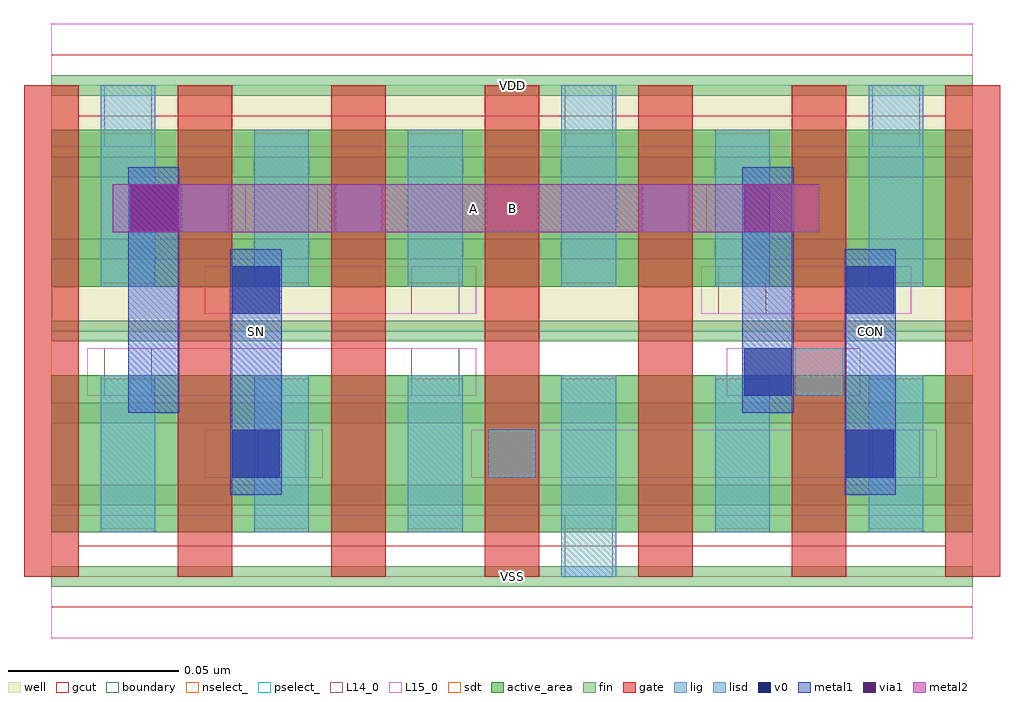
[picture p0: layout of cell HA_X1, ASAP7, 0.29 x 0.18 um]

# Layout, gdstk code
import gdstk
lib = gdstk.Library(unit=1e-6, precision=2.5e-10)
def R(c, l, rs):  # rectangles x0, y0, x1, y1
    for r in rs: c.add(gdstk.rectangle(r[:2], r[2:], *l))
def A(c, l, x, y, w, h, nx, ny, dx, dy):  # array of equal rectangles
    R(c, l, [(x+i*dx, y+j*dy, x+i*dx+w, y+j*dy+h) for i in range(nx) for j in range(ny)])
def P(c, l, *ps):  # polygons
    for p in ps: c.add(gdstk.Polygon(p, *l))
well = (1, 0)
fin = (2, 0)
gate = (7, 0)
gcut = (10, 0)
active_area = (11, 0)
nselect_ = (12, 0)
pselect_ = (13, 0)
L14_0 = (14, 0)
L15_0 = (15, 0)
lig = (16, 0)
lisd = (17, 0)
v0 = (18, 0)
metal1 = (19, 0)
metal2 = (20, 0)
via1 = (21, 0)
sdt = (88, 0)
boundary = (100, 0)

ha_x1 = lib.new_cell('HA_X1')
R(ha_x1, well, [(0,0.072,0.27,0.144)])
A(ha_x1, fin, 0, -0.003, 0.27, 0.006, 1, 7, 0, 0.024)
A(ha_x1, gate, -0.008, 0, 0.016, 0.144, 7, 1, 0.045, 0)
P(ha_x1, gcut, [(0,-0.009),(0,0),(-0.008,0),(-0.008,0.135),(0.008,0.135),(0.008,0.009),(0.262,0.009),(0.262,0.135),(-0.008,0.135),(-0.008,0.144),(0,0.144),(0,0.153),(0.27,0.153),(0.27,0.144),(0.278,0.144),(0.278,0),(0.27,0),(0.27,-0.009)])
R(ha_x1, active_area, [(0,0.013,0.27,0.059), (0,0.085,0.27,0.131)])
R(ha_x1, nselect_, [(0,0,0.27,0.072)])
R(ha_x1, pselect_, [(0,0.072,0.27,0.144)])
R(ha_x1, L14_0, [(0.1505,0,0.1645,0.018), (0.0605,0.029,0.0745,0.043), (0.128,0.029,0.142,0.043), (0.2405,0.029,0.2545,0.043), (0.0155,0.053,0.0295,0.067), (0.1055,0.053,0.1195,0.067), (0.218,0.053,0.232,0.067), (0.1055,0.077,0.1195,0.091), (0.1955,0.077,0.2095,0.091), (0.038,0.101,0.052,0.115), (0.083,0.101,0.097,0.115), (0.173,0.101,0.187,0.115), (0.0155,0.126,0.0295,0.144), (0.1505,0.126,0.1645,0.144), (0.2405,0.126,0.2545,0.144)])
R(ha_x1, L15_0, [(0,-0.018,0.27,0.018), (0.045,0.029,0.0795,0.043), (0.123,0.029,0.2595,0.043), (0.0105,0.053,0.1245,0.067), (0.198,0.053,0.237,0.067), (0.045,0.077,0.1245,0.091), (0.1905,0.077,0.252,0.091), (0.018,0.101,0.057,0.115), (0.078,0.101,0.192,0.115), (0,0.126,0.27,0.162)])
R(ha_x1, lig, [(0.128,0.029,0.142,0.043), (0.218,0.053,0.232,0.067), (0.038,0.101,0.052,0.115), (0.083,0.101,0.097,0.115), (0.173,0.101,0.187,0.115)])
A(ha_x1, lisd, 0.0145, 0.013, 0.016, 0.046, 3, 1, 0.045, 0)
R(ha_x1, lisd, [(0.1495,0,0.1655,0.059), (0.1945,0.013,0.2105,0.059), (0.2395,0.013,0.2555,0.059), (0.0145,0.085,0.0305,0.144), (0.0595,0.085,0.0755,0.131), (0.1045,0.085,0.1205,0.131), (0.1495,0.085,0.1655,0.144), (0.1945,0.085,0.2105,0.131), (0.2395,0.085,0.2555,0.144)])
R(ha_x1, v0, [(0.053,0.029,0.067,0.043), (0.233,0.029,0.247,0.043), (0.203,0.053,0.217,0.067), (0.053,0.077,0.067,0.091), (0.233,0.077,0.247,0.091), (0.023,0.101,0.037,0.115)])
R(ha_x1, metal1, [(0.0525,0.024,0.0675,0.096), (0.2325,0.024,0.2475,0.096), (0.0225,0.048,0.0375,0.12), (0.2025,0.048,0.2175,0.12)])
R(ha_x1, metal2, [(0.018,0.101,0.225,0.115)])
R(ha_x1, via1, [(0.023,0.101,0.037,0.115), (0.203,0.101,0.217,0.115)])
A(ha_x1, sdt, 0.0145, 0.014, 0.016, 0.044, 6, 2, 0.045, 0.072)
R(ha_x1, boundary, [(0,0,0.27,0.144)])
ha_x1.add(gdstk.Label('B', (0.135,0.108), layer=15, texttype=251))
ha_x1.add(gdstk.Label('VSS', (0.135,0), layer=15, texttype=251))
ha_x1.add(gdstk.Label('VDD', (0.135,0.144), layer=15, texttype=251))
ha_x1.add(gdstk.Label('VSS', (0.135,0), layer=15, texttype=251))
ha_x1.add(gdstk.Label('VDD', (0.135,0.144), layer=15, texttype=251))
ha_x1.add(gdstk.Label('VSS', (0.135,0), layer=15, texttype=251))
ha_x1.add(gdstk.Label('VDD', (0.135,0.144), layer=15, texttype=251))
ha_x1.add(gdstk.Label('VSS', (0.135,0), layer=15, texttype=251))
ha_x1.add(gdstk.Label('VDD', (0.135,0.144), layer=15, texttype=251))
ha_x1.add(gdstk.Label('VSS', (0.135,0), layer=3, texttype=251))
ha_x1.add(gdstk.Label('VSS', (0.135,0), layer=3, texttype=251))
ha_x1.add(gdstk.Label('VSS', (0.135,0), layer=3, texttype=251))
ha_x1.add(gdstk.Label('VSS', (0.135,0), layer=3, texttype=251))
ha_x1.add(gdstk.Label('VDD', (0.135,0.144), layer=1, texttype=251))
ha_x1.add(gdstk.Label('VDD', (0.135,0.144), layer=1, texttype=251))
ha_x1.add(gdstk.Label('VDD', (0.135,0.144), layer=1, texttype=251))
ha_x1.add(gdstk.Label('VDD', (0.135,0.144), layer=1, texttype=251))
ha_x1.add(gdstk.Label('A', (0.1238,0.108), layer=20, texttype=251))
ha_x1.add(gdstk.Label('SN', (0.06,0.072), layer=19, texttype=251))
ha_x1.add(gdstk.Label('CON', (0.24,0.072), layer=19, texttype=251))

lib.write_gds('HA_X1.gds')
